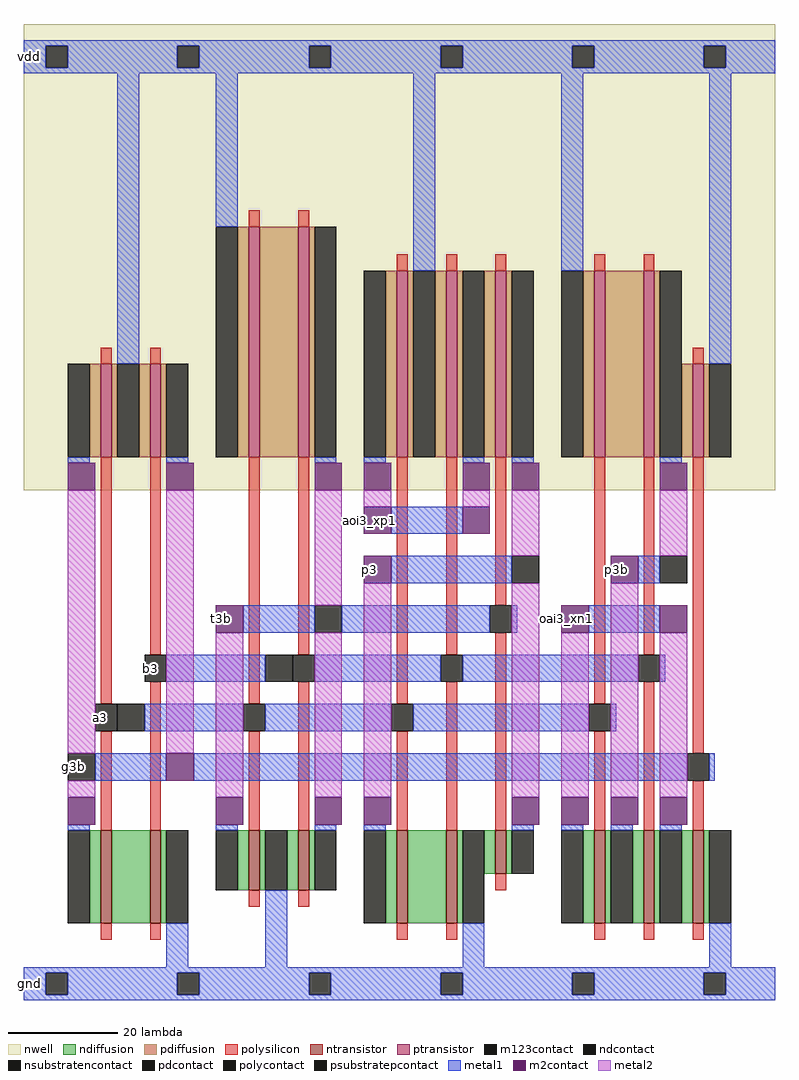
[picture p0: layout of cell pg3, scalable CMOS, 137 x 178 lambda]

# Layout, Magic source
magic
tech scmos
<< nwell >>
rect 0 93 137 178
<< ntransistor >>
rect 14 14 16 31
rect 23 14 25 31
rect 41 20 43 31
rect 50 20 52 31
rect 68 14 70 31
rect 77 14 79 31
rect 86 23 88 31
rect 104 14 106 31
rect 113 14 115 31
rect 122 14 124 31
<< ptransistor >>
rect 14 99 16 116
rect 23 99 25 116
rect 41 99 43 141
rect 50 99 52 141
rect 68 99 70 133
rect 77 99 79 133
rect 86 99 88 133
rect 104 99 106 133
rect 113 99 115 133
rect 122 99 124 116
<< ndiffusion >>
rect 12 14 14 31
rect 16 14 23 31
rect 25 14 26 31
rect 39 20 41 31
rect 43 20 44 31
rect 48 20 50 31
rect 52 20 53 31
rect 66 14 68 31
rect 70 14 77 31
rect 79 14 80 31
rect 84 23 86 31
rect 88 23 89 31
rect 102 14 104 31
rect 106 14 107 31
rect 111 14 113 31
rect 115 14 116 31
rect 120 14 122 31
rect 124 14 125 31
<< pdiffusion >>
rect 12 99 14 116
rect 16 99 17 116
rect 21 99 23 116
rect 25 99 26 116
rect 39 99 41 141
rect 43 99 50 141
rect 52 99 53 141
rect 66 99 68 133
rect 70 99 71 133
rect 75 99 77 133
rect 79 99 80 133
rect 84 99 86 133
rect 88 99 89 133
rect 102 99 104 133
rect 106 99 113 133
rect 115 99 116 133
rect 120 99 122 116
rect 124 99 125 116
<< ndcontact >>
rect 8 14 12 31
rect 26 14 30 31
rect 35 20 39 31
rect 44 20 48 31
rect 53 20 57 31
rect 62 14 66 31
rect 80 14 84 31
rect 89 23 93 31
rect 98 14 102 31
rect 107 14 111 31
rect 116 14 120 31
rect 125 14 129 31
<< pdcontact >>
rect 8 99 12 116
rect 17 99 21 116
rect 26 99 30 116
rect 35 99 39 141
rect 53 99 57 141
rect 62 99 66 133
rect 71 99 75 133
rect 80 99 84 133
rect 89 99 93 133
rect 98 99 102 133
rect 116 99 120 133
rect 125 99 129 116
<< psubstratepcontact >>
rect 4 1 8 5
rect 28 1 32 5
rect 52 1 56 5
rect 76 1 80 5
rect 100 1 104 5
rect 124 1 128 5
<< nsubstratencontact >>
rect 4 170 8 174
rect 28 170 32 174
rect 52 170 56 174
rect 76 170 80 174
rect 100 170 104 174
rect 124 170 128 174
<< polysilicon >>
rect 41 141 43 144
rect 50 141 52 144
rect 14 116 16 119
rect 23 116 25 119
rect 68 133 70 136
rect 77 133 79 136
rect 86 133 88 136
rect 104 133 106 136
rect 113 133 115 136
rect 122 116 124 119
rect 14 54 16 99
rect 23 63 25 99
rect 14 31 16 49
rect 23 31 25 58
rect 41 54 43 99
rect 50 63 52 99
rect 41 31 43 49
rect 50 31 52 58
rect 68 54 70 99
rect 77 63 79 99
rect 86 72 88 99
rect 68 31 70 49
rect 77 31 79 58
rect 86 31 88 67
rect 104 54 106 99
rect 113 63 115 99
rect 104 31 106 49
rect 113 31 115 58
rect 122 45 124 99
rect 122 31 124 40
rect 41 17 43 20
rect 50 17 52 20
rect 86 20 88 23
rect 14 11 16 14
rect 23 11 25 14
rect 68 11 70 14
rect 77 11 79 14
rect 104 11 106 14
rect 113 11 115 14
rect 122 11 124 14
<< polycontact >>
rect 22 58 26 63
rect 13 49 17 54
rect 49 58 53 63
rect 40 49 44 54
rect 85 67 89 72
rect 76 58 80 63
rect 67 49 71 54
rect 112 58 116 63
rect 103 49 107 54
rect 121 40 125 45
<< metal1 >>
rect 0 174 137 175
rect 0 170 4 174
rect 8 170 28 174
rect 32 170 52 174
rect 56 170 76 174
rect 80 170 100 174
rect 104 170 124 174
rect 128 170 137 174
rect 0 169 137 170
rect 17 116 21 169
rect 35 141 39 169
rect 71 133 75 169
rect 98 133 102 169
rect 8 98 12 99
rect 26 98 30 99
rect 53 98 57 99
rect 62 98 66 99
rect 80 98 84 99
rect 125 116 129 169
rect 89 98 93 99
rect 116 98 120 99
rect 67 85 80 90
rect 67 76 89 81
rect 112 76 116 81
rect 40 67 53 72
rect 58 67 85 72
rect 89 67 90 72
rect 103 67 116 72
rect 26 58 44 63
rect 53 58 76 63
rect 80 58 112 63
rect 116 58 117 63
rect 22 49 40 54
rect 44 49 67 54
rect 71 49 103 54
rect 107 49 108 54
rect 13 40 26 45
rect 31 40 121 45
rect 125 40 126 45
rect 8 31 12 32
rect 35 31 39 32
rect 53 31 57 32
rect 62 31 66 32
rect 89 31 93 32
rect 26 6 30 14
rect 44 6 48 20
rect 98 31 102 32
rect 107 31 111 32
rect 116 31 120 32
rect 80 6 84 14
rect 125 6 129 14
rect 0 5 137 6
rect 0 1 4 5
rect 8 1 28 5
rect 32 1 52 5
rect 56 1 76 5
rect 80 1 100 5
rect 104 1 124 5
rect 128 1 137 5
rect 0 0 137 1
<< m2contact >>
rect 8 93 13 98
rect 26 93 31 98
rect 53 93 58 98
rect 62 93 67 98
rect 80 93 85 98
rect 89 93 94 98
rect 116 93 121 98
rect 62 85 67 90
rect 80 85 85 90
rect 62 76 67 81
rect 107 76 112 81
rect 35 67 40 72
rect 98 67 103 72
rect 116 67 121 72
rect 26 40 31 45
rect 8 32 13 37
rect 35 32 40 37
rect 53 32 58 37
rect 62 32 67 37
rect 89 32 94 37
rect 98 32 103 37
rect 107 32 112 37
rect 116 32 121 37
<< metal2 >>
rect 8 45 13 93
rect 26 45 31 93
rect 53 72 58 93
rect 62 90 67 93
rect 80 90 85 93
rect 89 81 94 93
rect 116 81 121 93
rect 8 37 13 40
rect 35 37 40 67
rect 53 37 58 67
rect 62 37 67 76
rect 89 37 94 76
rect 98 37 103 67
rect 107 37 112 76
rect 116 37 121 67
<< m123contact >>
rect 17 49 22 54
rect 8 40 13 45
rect 53 67 58 72
rect 44 58 49 63
rect 89 76 94 81
rect 116 76 121 81
<< labels >>
rlabel metal1 13 49 15 54 0 a3
port 1 nsew
rlabel metal1 22 58 24 63 0 b3
port 2 nsew
rlabel metal1 8 40 10 45 0 g3b
port 3 nsew
rlabel m2contact 62 76 64 81 0 p3
port 4 nsew
rlabel m2contact 107 76 109 81 0 p3b
port 5 nsew
rlabel m2contact 35 67 37 72 0 t3b
port 6 nsew
rlabel m2contact 62 85 64 90 0 aoi3_xp1
rlabel m2contact 98 67 100 72 0 oai3_xn1
rlabel metal1 0 169 2 175 0 vdd
port 7 nsew
rlabel metal1 0 0 2 6 0 gnd
port 8 nsew
<< end >>
